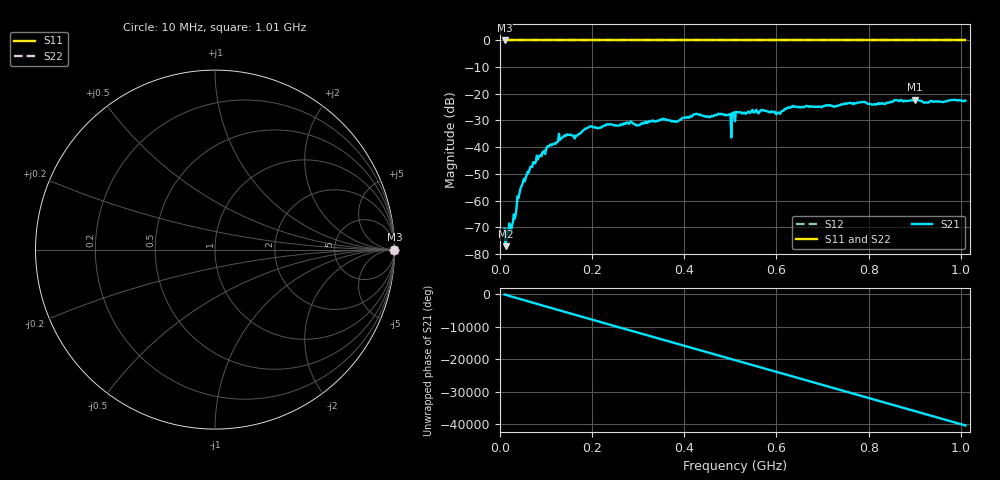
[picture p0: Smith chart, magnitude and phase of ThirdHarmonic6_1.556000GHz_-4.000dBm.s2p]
! 8/16/2025 6:28:30 PM
! C:\ANRITSUVNA\TEMP\TEMP.S2P
! CHANNEL.1
! TR.MEASUREMENT
! RAW.DATA
! RF.CORRECTION.OFF
! AVERAGING.OFF
! IF.BANDWIDTH: 5KHZ
! SWEEPTYPE:  FREQ.SWEEP(Linear)
! Reference Plane Port Info
! PORT:  PORT1  PORT2
! DISTANCE:  0  m  0  m
! TIME:  0  s  0  s
! PHASE.OFFSET:  0  deg.  0  deg.
! LOSS:  0  dB  0  dB
! REF.LOSS:  0  dB  0  dB
! REF.FREQ:  0  Hz  0  Hz
! Power Info
! POWER:  -20  dBm  -20  dBm
! EFF.POWER:  -20  dBm  -20  dBm
! SOURCE.ATTEN:  0  dB  0  dB
! TEST.ATTEN:  0  dB  0  dB
# GHZ S RI R 50.0
! FREQ.GHZ  S11RE  S11IM  S21RE  S21IM  S12RE  S12IM  S22RE  S22IM
!; PortSelection: Port_12
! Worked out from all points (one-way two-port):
!   501 points, 10 MHz to 1.01 GHz, reference 50 ohm
!   highest |S21| = -22.18 dB at 900 MHz (marker M1); lowest = -77.1 dB at 12 MHz (marker M2)
!   lowest |S11| = 0.0 dB at 10 MHz (marker M3)
!   |S11| at or under -10 dB: nowhere
!   |S22| runs from 0.0 to 0.0 dB; largest |S21 - S12| = 1.1
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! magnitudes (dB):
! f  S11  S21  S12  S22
! 10 MHz  0.0  -70.5  0.0  0.0
! 12 MHz  0.0  -77.1  0.0  0.0
! 28 MHz  0.0  -68.2  0.0  0.0
! 48 MHz  0.0  -54.2  0.0  0.0
! 76 MHz  0.0  -46.1  0.0  0.0
! 132 MHz  0.0  -36.8  0.0  0.0
! 178 MHz  0.0  -34.2  0.0  0.0
! 196 MHz  0.0  -32.3  0.0  0.0
! 344 MHz  0.0  -30.2  0.0  0.0
! 384 MHz  0.0  -30.3  0.0  0.0
! 424 MHz  0.0  -27.6  0.0  0.0
! 496 MHz  0.0  -27.8  0.0  0.0
! 498 MHz  0.0  -27.7  0.0  0.0
! 506 MHz  0.0  -27.1  0.0  0.0
! 510 MHz  0.0  -30.3  0.0  0.0
! 570 MHz  0.0  -26.1  0.0  0.0
! 604 MHz  0.0  -27.0  0.0  0.0
! 632 MHz  0.0  -25.0  0.0  0.0
! 678 MHz  0.0  -24.8  0.0  0.0
! 844 MHz  0.0  -23.3  0.0  0.0
! 900 MHz  0.0  -22.2  0.0  0.0
! 1.01 GHz  0.0  -22.6  0.0  0.0
